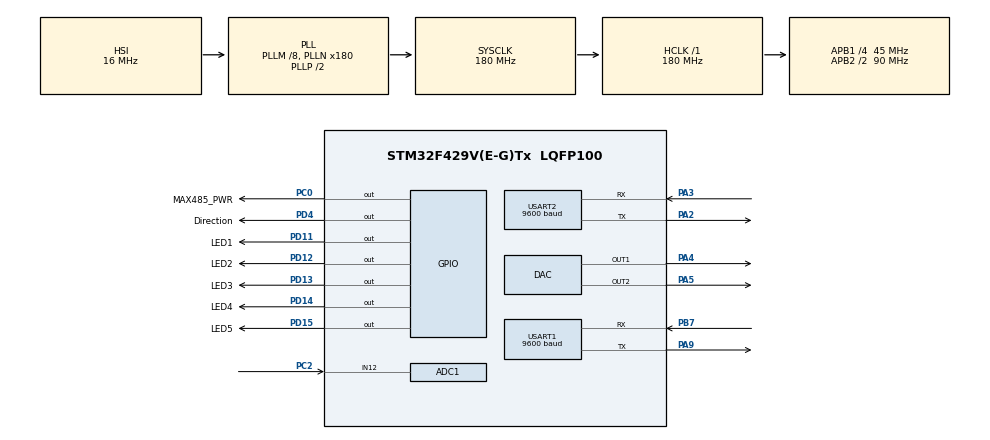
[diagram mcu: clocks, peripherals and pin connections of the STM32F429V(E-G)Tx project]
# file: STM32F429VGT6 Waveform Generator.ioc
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ADC1.Channel-1\#ChannelRegularConversion=ADC_CHANNEL_12
ADC1.NbrOfConversionFlag=1
ADC1.Rank-1\#ChannelRegularConversion=1
ADC1.SamplingTime-1\#ChannelRegularConversion=ADC_SAMPLETIME_3CYCLES
ADC1.master=1
DAC.DAC_Trigger=DAC_TRIGGER_T2_TRGO
DAC.DAC_Trigger2=DAC_TRIGGER_T4_TRGO
Dma.DAC1.0.Direction=DMA_MEMORY_TO_PERIPH
Dma.DAC1.0.FIFOMode=DMA_FIFOMODE_DISABLE
Dma.DAC1.0.Instance=DMA1_Stream5
Dma.DAC1.0.MemDataAlignment=DMA_MDATAALIGN_WORD
Dma.DAC1.0.MemInc=DMA_MINC_ENABLE
Dma.DAC1.0.Mode=DMA_CIRCULAR
Dma.DAC1.0.PeriphDataAlignment=DMA_PDATAALIGN_WORD
Dma.DAC1.0.PeriphInc=DMA_PINC_DISABLE
Dma.DAC1.0.Priority=DMA_PRIORITY_LOW
Dma.DAC2.1.Direction=DMA_MEMORY_TO_PERIPH
Dma.DAC2.1.FIFOMode=DMA_FIFOMODE_DISABLE
Dma.DAC2.1.Instance=DMA1_Stream6
Dma.DAC2.1.MemDataAlignment=DMA_MDATAALIGN_WORD
Dma.DAC2.1.MemInc=DMA_MINC_ENABLE
Dma.DAC2.1.Mode=DMA_CIRCULAR
Dma.DAC2.1.PeriphDataAlignment=DMA_PDATAALIGN_WORD
Dma.DAC2.1.PeriphInc=DMA_PINC_DISABLE
Dma.DAC2.1.Priority=DMA_PRIORITY_LOW
Dma.Request0=DAC1
Dma.Request1=DAC2
Dma.Request2=USART1_RX
Dma.Request3=USART1_TX
Dma.USART1_RX.2.Direction=DMA_PERIPH_TO_MEMORY
Dma.USART1_RX.2.FIFOMode=DMA_FIFOMODE_DISABLE
Dma.USART1_RX.2.Instance=DMA2_Stream2
Dma.USART1_RX.2.MemDataAlignment=DMA_MDATAALIGN_BYTE
Dma.USART1_RX.2.MemInc=DMA_MINC_ENABLE
Dma.USART1_RX.2.Mode=DMA_NORMAL
Dma.USART1_RX.2.PeriphDataAlignment=DMA_PDATAALIGN_BYTE
Dma.USART1_RX.2.PeriphInc=DMA_PINC_DISABLE
Dma.USART1_RX.2.Priority=DMA_PRIORITY_LOW
Dma.USART1_TX.3.Direction=DMA_MEMORY_TO_PERIPH
Dma.USART1_TX.3.FIFOMode=DMA_FIFOMODE_DISABLE
Dma.USART1_TX.3.Instance=DMA2_Stream7
Dma.USART1_TX.3.MemDataAlignment=DMA_MDATAALIGN_BYTE
Dma.USART1_TX.3.MemInc=DMA_MINC_ENABLE
Dma.USART1_TX.3.Mode=DMA_CIRCULAR
Dma.USART1_TX.3.PeriphDataAlignment=DMA_PDATAALIGN_BYTE
Dma.USART1_TX.3.PeriphInc=DMA_PINC_DISABLE
Dma.USART1_TX.3.Priority=DMA_PRIORITY_LOW
Mcu.Family=STM32F4
Mcu.Name=STM32F429V(E-G)Tx
Mcu.Package=LQFP100
NVIC.DMA1_Stream5_IRQn=true\:0\:0\:false\:false\:true\:false\:true
NVIC.DMA1_Stream6_IRQn=true\:0\:0\:false\:false\:true\:false\:true
NVIC.DMA2_Stream2_IRQn=true\:0\:0\:false\:false\:true\:false\:true
NVIC.DMA2_Stream7_IRQn=true\:0\:0\:false\:false\:true\:false\:true
NVIC.PriorityGroup=NVIC_PRIORITYGROUP_4
NVIC.TIM2_IRQn=true\:0\:0\:false\:false\:true\:true\:true
NVIC.TIM4_IRQn=true\:0\:0\:false\:false\:true\:true\:true
NVIC.TIM6_DAC_IRQn=true\:0\:0\:false\:false\:true\:true\:true
NVIC.USART2_IRQn=true\:0\:0\:false\:false\:true\:true\:true
PA13.Mode=Trace_Asynchronous_SW
PA13.Signal=SYS_JTMS-SWDIO
PA14.Mode=Trace_Asynchronous_SW
PA14.Signal=SYS_JTCK-SWCLK
PA2.Mode=Asynchronous
PA2.Signal=USART2_TX
PA3.Mode=Asynchronous
PA3.Signal=USART2_RX
PA4.Signal=COMP_DAC1_group
PA5.Signal=COMP_DAC2_group
PA9.Mode=Asynchronous
PA9.Signal=USART1_TX
PB3.Mode=Trace_Asynchronous_SW
PB3.Signal=SYS_JTDO-SWO
PB7.Mode=Asynchronous
PB7.Signal=USART1_RX
PC0.GPIO_Label=MAX485_PWR
PC0.Signal=GPIO_Output
PC2.Signal=ADCx_IN12
PD11.GPIO_Label=LED1
PD11.Signal=GPIO_Output
PD12.GPIO_Label=LED2
PD12.Signal=GPIO_Output
PD13.GPIO_Label=LED3
PD13.Signal=GPIO_Output
PD14.GPIO_Label=LED4
PD14.Signal=GPIO_Output
PD15.GPIO_Label=LED5
PD15.Signal=GPIO_Output
PD4.GPIO_Label=Direction
PD4.Signal=GPIO_Output
PH0/OSC_IN.Mode=HSE-External-Oscillator
PH0/OSC_IN.Signal=RCC_OSC_IN
PH1/OSC_OUT.Mode=HSE-External-Oscillator
PH1/OSC_OUT.Signal=RCC_OSC_OUT
ProjectManager.HeapSize=0x200
ProjectManager.StackSize=0x400
ProjectManager.TargetToolchain=STM32CubeIDE
RCC.48MHZClocksFreq_Value=51428571.428571425
RCC.AHBFreq_Value=180000000
RCC.APB1CLKDivider=RCC_HCLK_DIV4
RCC.APB1Freq_Value=45000000
RCC.APB1TimFreq_Value=90000000
RCC.APB2CLKDivider=RCC_HCLK_DIV2
RCC.APB2Freq_Value=90000000
RCC.APB2TimFreq_Value=180000000
RCC.CortexFreq_Value=180000000
RCC.HCLKFreq_Value=180000000
RCC.HSE_VALUE=25000000
RCC.HSI_VALUE=16000000
RCC.LSE_VALUE=32768
RCC.PLLM=8
RCC.PLLN=180
RCC.PLLQ=7
RCC.SYSCLKFreq_VALUE=180000000
RCC.SYSCLKSource=RCC_SYSCLKSOURCE_PLLCLK
RCC.VCOOutputFreq_Value=360000000
SH.ADCx_IN12.0=ADC1_IN12,IN12
SH.COMP_DAC1_group.0=DAC_OUT1,DAC_OUT1
SH.COMP_DAC2_group.0=DAC_OUT2,DAC_OUT2
TIM2.AutoReloadPreload=TIM_AUTORELOAD_PRELOAD_ENABLE
TIM2.Period=10
TIM2.Prescaler=10
TIM2.TIM_MasterOutputTrigger=TIM_TRGO_UPDATE
TIM4.AutoReloadPreload=TIM_AUTORELOAD_PRELOAD_ENABLE
TIM4.Period=10
TIM4.Prescaler=10
TIM4.TIM_MasterOutputTrigger=TIM_TRGO_UPDATE
USART1.BaudRate=9600
USART1.Parity=PARITY_NONE
USART1.StopBits=STOPBITS_2
USART1.VirtualMode=VM_ASYNC
USART1.WordLength=WORDLENGTH_8B
USART2.BaudRate=9600
USART2.OverSampling=UART_OVERSAMPLING_16
USART2.Parity=PARITY_NONE
USART2.StopBits=STOPBITS_2
USART2.VirtualMode=VM_ASYNC
USART2.WordLength=WORDLENGTH_8B
VP_TIM2_VS_ClockSourceINT.Mode=Internal
VP_TIM4_VS_ClockSourceINT.Mode=Internal
board=custom

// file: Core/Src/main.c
/* USER CODE BEGIN Header */
/**
  ******************************************************************************
  * @file           : main.c
  * @brief          : Main program body
  ******************************************************************************
  * @attention
  *
  * <h2><center>&copy; Copyright (c) 2021 STMicroelectronics.
  * All rights reserved.</center></h2>
  *
  * This software component is licensed by ST under BSD 3-Clause license,
  * the "License"; You may not use this file except in compliance with the
  * License. You may obtain a copy of the License at:
  *                        opensource.org/licenses/BSD-3-Clause
  *
  ******************************************************************************
  */
/* USER CODE END Header */
#include "main.h"
#include "adc.h"
#include "dac.h"
#include "dma.h"
#include "tim.h"
#include "usart.h"
#include "gpio.h"

/* USER CODE BEGIN Includes */
#include "math.h"
#include <string.h>
#include <stdio.h>
#include <stdlib.h>
//#include "usbd_cdc_if.h" // this is needed to transmit a string of characters
/* USER CODE END Includes */

void SystemClock_Config(void);

/* USER CODE BEGIN 0 */

/* Setting up signal generation */
int Res = 4096;				        // DAC resolution.
#define Ns 80 			            // Number of samples, Adjusting Ns will affect the frequency of the output signal.
								    // NS 80 seems to work up to 25kHz
uint32_t Channel_1_sine_val[Ns];    // Look up table for all the first sine wave.
uint32_t Channel_2_sine_val[Ns];    // Look up table for all the second sine wave.
double Channel_1_sine_scale = 0.68; // Sine scale values. Max value = sine_scaled*3.3. Will result in a deformed signal.
double Channel_2_sine_scale = 0.68; // Giving a max amplitude of 3.24V
int sine_dc_offset = 300; 		    // DC off set value (4096Bits/3300mV)*200mV = 248.24Bits. Check
#define PI 3.1415926			    // Definition of PI
int Freq_Signal_1 = 1000; 		    // Frequency of signal 1
int Freq_Signal_2 = 1000; 		    // Frequency of signal 2
int PSC;						    // Variable to hold the Pre-scaler value
int Period = 1;					    // Variable to hold the Period
uint32_t Fclock = 90000000;		    // APB1 Timer Clock Frequency

/* Setting up UART communications*/
#define uartSize_rx 10
#define uartSize_tx 10
uint8_t rx_buff[uartSize_rx];
uint8_t tx_buff[uartSize_tx];
int temp_frequency;
int temp_sine_scale;
char temp_buff[uartSize_rx];

// ASCII interpretation
char amplitude_value[2];
char frquency_value[6];
int value_int;

// for debugging
int counter = 0;

/* USER CODE END 0 */

int main(void)
{

  /* MCU Configuration--------------------------------------------------------*/

  /* Reset of all peripherals, Initializes the Flash interface and the Systick. */

	HAL_Init();

  /* Configure the system clock */
  SystemClock_Config();

  /* Initialize all configured peripherals */
  MX_GPIO_Init();
  MX_DMA_Init();
  MX_ADC1_Init();
  MX_USART1_UART_Init();
  MX_DAC_Init();
  MX_TIM2_Init();
  MX_TIM4_Init();
  MX_USART2_UART_Init();
  /* USER CODE BEGIN 2 */
  /* Perform initializations */
  Startup(Channel_1_sine_val, Channel_2_sine_val, tx_buff);
  /* USER CODE END 2 */

  /* Infinite loop */
  /* USER CODE BEGIN WHILE */
  while (1)
  {

	  /* Wait for instructions*/
      HAL_GPIO_WritePin(Direction_GPIO_Port, Direction_Pin, 0); // Set MAX485 to listening
	  HAL_UART_Receive(&huart2, rx_buff, uartSize_rx, 100);
	  Message_handler(rx_buff);

	 // HAL_UART_Transmit(&huart2, rx_buff, strlen((char*)rx_buff), 100); // Send message in RS485

	  //HAL_UART_Receive(&huart2, rx_buff, uartSize_rx, HAL_MAX_DELAY);

    /* USER CODE END WHILE */

  }
}

void SystemClock_Config(void)
{
  RCC_OscInitTypeDef RCC_OscInitStruct = {0};
  RCC_ClkInitTypeDef RCC_ClkInitStruct = {0};

  /** Configure the main internal regulator output voltage
  */
  __HAL_RCC_PWR_CLK_ENABLE();
  __HAL_PWR_VOLTAGESCALING_CONFIG(PWR_REGULATOR_VOLTAGE_SCALE1);
  /** Initializes the RCC Oscillators according to the specified parameters
  * in the RCC_OscInitTypeDef structure.
  */
  RCC_OscInitStruct.OscillatorType = RCC_OSCILLATORTYPE_HSI;
  RCC_OscInitStruct.HSIState = RCC_HSI_ON;
  RCC_OscInitStruct.HSICalibrationValue = RCC_HSICALIBRATION_DEFAULT;
  RCC_OscInitStruct.PLL.PLLState = RCC_PLL_ON;
  RCC_OscInitStruct.PLL.PLLSource = RCC_PLLSOURCE_HSI;
  RCC_OscInitStruct.PLL.PLLM = 8;
  RCC_OscInitStruct.PLL.PLLN = 180;
  RCC_OscInitStruct.PLL.PLLP = RCC_PLLP_DIV2;
  RCC_OscInitStruct.PLL.PLLQ = 7;
  if (HAL_RCC_OscConfig(&RCC_OscInitStruct) != HAL_OK)
  {
    Error_Handler();
  }
  /** Activate the Over-Drive mode
  */
  if (HAL_PWREx_EnableOverDrive() != HAL_OK)
  {
    Error_Handler();
  }
  /** Initializes the CPU, AHB and APB buses clocks
  */
  RCC_ClkInitStruct.ClockType = RCC_CLOCKTYPE_HCLK|RCC_CLOCKTYPE_SYSCLK
                              |RCC_CLOCKTYPE_PCLK1|RCC_CLOCKTYPE_PCLK2;
  RCC_ClkInitStruct.SYSCLKSource = RCC_SYSCLKSOURCE_PLLCLK;
  RCC_ClkInitStruct.AHBCLKDivider = RCC_SYSCLK_DIV1;
  RCC_ClkInitStruct.APB1CLKDivider = RCC_HCLK_DIV4;
  RCC_ClkInitStruct.APB2CLKDivider = RCC_HCLK_DIV2;

  if (HAL_RCC_ClockConfig(&RCC_ClkInitStruct, FLASH_LATENCY_5) != HAL_OK)
  {
    Error_Handler();
  }
}

/* USER CODE BEGIN 4 */
void Startup(uint32_t Channel_1_sine_val[Ns], uint32_t Channel_2_sine_val[Ns],	uint8_t tx_buff[uartSize_tx]) {

	/* Creating the Sine waveform at the DACs outputs 1 and 2*/
	set_clock_TIM2(); // Setting frequency of timer 2
	set_clock_TIM4(); // Setting frequency of timer 4
	HAL_TIM_Base_Start(&htim2); // Start timer 2
	HAL_TIM_Base_Start(&htim4); // Start timer 4
	Get_channel_1_sine(); // Generate the sine wave look up table
	Get_channel_2_sine(); // Generate the  sine wave look up table
	HAL_DAC_Start_DMA(&hdac, DAC1_CHANNEL_1, Channel_1_sine_val, Ns, DAC_ALIGN_12B_R); //Start the DAC DMA implementation for output 1.
	/* Any code between here will cause phase lag between the output signals. */
	HAL_DAC_Start_DMA(&hdac, DAC1_CHANNEL_2, Channel_2_sine_val, Ns, DAC_ALIGN_12B_R); //Start the DAC DMA implementation for output 2.

	/* Setting signal output indicators to on  */
	HAL_GPIO_WritePin(GPIOD, LED1_Pin, 1); // Turn LED1 on
	HAL_GPIO_WritePin(GPIOD, LED2_Pin, 1); // Turn LED2 on

	/* Setting up RS485 communications */
	HAL_GPIO_WritePin(MAX485_PWR_GPIO_Port, MAX485_PWR_Pin, 1); // Turn on the MAX485 chip

	/* Building start up message */
	tx_buff[0] = 0x3C; // |<|     : Start of message byte.
	tx_buff[1] = 36;   // |ADDR|  : Device Address byte.
	tx_buff[2] = 36;   // |CMD|   : Command byte.
	tx_buff[3] = 36;   // |DATA1| : Data byte 1.
	tx_buff[4] = 36;   // |DATA2| : Data byte 2.
	tx_buff[5] = 36;   // |DATA3| : Data byte 3
	tx_buff[6] = 36;   // |DATA4| : Data byte 4.
	tx_buff[7] = 36;   // |DATA5| : Data byte 5.
	tx_buff[8] = 36;   // |DATA6| : Data byte 6.
	tx_buff[9] = '>';  // |>|     : End of message byte.

	/* Send start up message */
	HAL_GPIO_WritePin(Direction_GPIO_Port, Direction_Pin, 1); // Set MAX485 to transmitting
	HAL_UART_Transmit(&huart2, tx_buff, strlen((char*) tx_buff), HAL_MAX_DELAY); // Send message in RS485
}

void HAL_UART_RxCpltCallback(UART_HandleTypeDef *huart){

	//Message_handler(rx_buff);

}

void HAL_UART_TxCpltCallback (UART_HandleTypeDef *huart){
	// Clear rx buffer

}

void Message_handler(uint8_t rx_buff[]){

	// If statements to validate message integrity
	if((rx_buff[0] == '<') && (rx_buff[9] == '>')){

		// Toggling transmission light
		HAL_GPIO_WritePin(LED3_GPIO_Port, LED3_Pin, 1); // Receive
		HAL_GPIO_WritePin(LED4_GPIO_Port, LED4_Pin, 0); // Busy
		HAL_GPIO_WritePin(LED5_GPIO_Port, LED5_Pin, 0); // Transmit

		/*
		|<|	     : Start of message byte.
		|ADDR|() : Device Address byte.
		|CMD|()  : Command byte.
		|DATA1|  : Data byte 1.
		|DATA2|  : Data byte 2.
		|DATA3|  : Data byte 3.
		|DATA4|  : Data byte 4.
		|DATA5|  : Data byte 5.
		|DATA6|  : Data byte 6.
		|>|		 : End of message byte.

		e.g.
		e.g.
		e.g.
		e.g.
		e.g.
		e.g.
		 */

		// Switch statements to respond accordingly
		switch(rx_buff[2]){

			/* Change the frequency of DAC channel 1. */
			case '1':
				// Toggling transmission light
				HAL_GPIO_WritePin(LED4_GPIO_Port, LED4_Pin, 1); // Busy

				// Building 4 bytes int a 6 digit value
				frquency_value[0] = rx_buff[3];
				frquency_value[1] = rx_buff[4];
				frquency_value[2] = rx_buff[5];
				frquency_value[3] = rx_buff[6];
				frquency_value[4] = rx_buff[7];
				frquency_value[5] = rx_buff[8];
				value_int = atoi(frquency_value);

				// Boundary checks
				if(value_int < 500){
					value_int = 500;
				}
				if(value_int > 20000){
					value_int = 20000;
				}
				// Updating channel 1 output frequency
				Freq_Signal_1 = value_int;
				set_clock_TIM2();	// Set the new sine frequency by updating the associate clock frequency

				// Calculating frequency from buffer value
				// temp_frequency  = ((Fclock/Ns)/((TIM2 ->PSC) - 1 )*(Period + 1));
				// itoa(temp_frequency, temp_buff,10);

				// Building response
				tx_buff[0] = '<'; 			// |<|     : Start of message byte.
				tx_buff[1] = rx_buff[1];	// |ADDR|  : Device Address byte.
				tx_buff[2] = rx_buff[2];	// |CMD|() : Command byte.
				tx_buff[3] = rx_buff[3];	// |DATA1| : Data byte 1.
				tx_buff[4] = rx_buff[4];	// |DATA2| : Data byte 2.
				tx_buff[5] = rx_buff[5];	// |DATA3| : Data byte 3
				tx_buff[6] = rx_buff[6];	// |DATA4| : Data byte 4.
				tx_buff[7] = rx_buff[7];	// |DATA1| : Data byte 5.
				tx_buff[8] = rx_buff[8];	// |DATA2| : Data byte 6.
				tx_buff[9] = '>'; 			// |>|     : End of message byte.

				// Toggling transmission light
				HAL_GPIO_WritePin(LED5_GPIO_Port, LED5_Pin, 1); // Transmit

				// Sending response
			    HAL_GPIO_WritePin(Direction_GPIO_Port, Direction_Pin, 1); 					// Set MAX485 to transmitting
				HAL_UART_Transmit(&huart2, tx_buff, strlen((char*)tx_buff), HAL_MAX_DELAY); // Send message in RS485
				counter++;
				break;

			/* Change the frequency of DAC channel 2. */
			case '2':
				// Toggling transmission light
				HAL_GPIO_WritePin(LED4_GPIO_Port, LED4_Pin, 1); // Busy

				// Building 4 bytes int a 6 digi value
				frquency_value[0] = rx_buff[3];
				frquency_value[1] = rx_buff[4];
				frquency_value[2] = rx_buff[5];
				frquency_value[3] = rx_buff[6];
				frquency_value[4] = rx_buff[7];
				frquency_value[5] = rx_buff[8];
				value_int = atoi(frquency_value);

				// Boundary checks
				if(value_int < 500){
					value_int = 500;
				}
				if(value_int > 20000){
					value_int = 20000;
				}

				// Updating channel 1 output frequency
				Freq_Signal_2 = value_int;
				set_clock_TIM4();	// Set the new sine frequency by updating the associate clock frequency

				// Calculating frequency from buffer value
				// temp_frequency  = ((Fclock/Ns)/((TIM4 ->PSC) - 1 )*(Period + 1));
				// itoa(temp_frequency, temp_buff,10);

				// Building response
				tx_buff[0] = '<'; 			// |<|     : Start of message byte.
				tx_buff[1] = rx_buff[1];	// |ADDR|  : Device Address byte.
				tx_buff[2] = rx_buff[2];	// |CMD|() : Command byte.
				tx_buff[3] = rx_buff[3];	// |DATA1| : Data byte 1.
				tx_buff[4] = rx_buff[4];	// |DATA2| : Data byte 2.
				tx_buff[5] = rx_buff[5];	// |DATA3| : Data byte 3
				tx_buff[6] = rx_buff[6];	// |DATA4| : Data byte 4.
				tx_buff[7] = rx_buff[7];	// |DATA1| : Data byte 5.
				tx_buff[8] = rx_buff[8];	// |DATA2| : Data byte 6.
				tx_buff[9] = '>'; 			// |>|     : End of message byte.

				// Toggling transmission light
				HAL_GPIO_WritePin(LED5_GPIO_Port, LED5_Pin, 1); // Transmit

				// Sending response
			    HAL_GPIO_WritePin(Direction_GPIO_Port, Direction_Pin, 1); 					// Set MAX485 to transmitting
				HAL_UART_Transmit(&huart2, tx_buff, strlen((char*)tx_buff), HAL_MAX_DELAY); // Send message in RS485
				counter++;
				break;

			/* Change the amplitude of DAC channel 1 */
			case '3':
				// Toggling transmission light
				HAL_GPIO_WritePin(LED4_GPIO_Port, LED4_Pin, 1); // Busy

				// Building 4 bytes int a 6 digit value
				amplitude_value[0] = rx_buff[7];
				amplitude_value[1] = rx_buff[8];
				value_int = atoi(amplitude_value);

				//value_int = value_int*1.16; /// This code is specificially for control enclosure 4

				// Boundary checks
				if(value_int < 1){
					value_int = 1;
				}
				if(value_int > 68){
					value_int = 68;
				}

				// Updating channel 1 amplitude
				Channel_1_sine_scale = (double)value_int/100; // Dividing by 100 to create a fraction
				Get_channel_1_sine(); // Generate new table of sine values

				// Building response
				tx_buff[0] = '<'; 			// |<|     : Start of message byte.
				tx_buff[1] = rx_buff[1];	// |ADDR|  : Device Address byte.
				tx_buff[2] = rx_buff[2];	// |CMD|() : Command byte.
				tx_buff[3] = rx_buff[3];	// |DATA1| : Data byte 1.
				tx_buff[4] = rx_buff[4];	// |DATA2| : Data byte 2.
				tx_buff[5] = rx_buff[5];	// |DATA3| : Data byte 3
				tx_buff[6] = rx_buff[6];	// |DATA4| : Data byte 4.
				tx_buff[7] = rx_buff[7];	// |DATA1| : Data byte 5.
				tx_buff[8] = rx_buff[8];	// |DATA2| : Data byte 6.
				tx_buff[9] = '>'; 			// |>|     : End of message byte.

				// Toggling transmission light
				HAL_GPIO_WritePin(LED5_GPIO_Port, LED5_Pin, 1); // Transmit

				// Sending response
			    HAL_GPIO_WritePin(Direction_GPIO_Port, Direction_Pin, 1); 					// Set MAX485 to transmitting
				HAL_UART_Transmit(&huart2, tx_buff, strlen((char*)tx_buff), HAL_MAX_DELAY); // Send message in RS485

				counter++;
				break;

			/* Change the amplitude of DAC channel 2. */
			case '4':
				// Toggling transmission light
				HAL_GPIO_WritePin(LED4_GPIO_Port, LED4_Pin, 1); // Busy

				// Building 4 bytes int a 6 digit value
				amplitude_value[0] = rx_buff[7];
				amplitude_value[1] = rx_buff[8];
				value_int = atoi(amplitude_value);

				//value_int = value_int*1.16; /// This code is specificially for control enclosure 4

				// Boundary checks
				if(value_int < 1){
					value_int = 1;
				}
				if(value_int > 68){
					value_int = 68;
				}

				// Updating channel 2 amplitude
				Channel_2_sine_scale = (double)value_int/100; // Dividing by 100 to create a fraction
				Get_channel_2_sine();	// Generate new table of sine values

				// Building response
				tx_buff[0] = '<'; 			// |<|     : Start of message byte.
				tx_buff[1] = rx_buff[1];	// |ADDR|  : Device Address byte.
				tx_buff[2] = rx_buff[2];	// |CMD|() : Command byte.
				tx_buff[3] = rx_buff[3];	// |DATA1| : Data byte 1.
				tx_buff[4] = rx_buff[4];	// |DATA2| : Data byte 2.
				tx_buff[5] = rx_buff[5];	// |DATA3| : Data byte 3
				tx_buff[6] = rx_buff[6];	// |DATA4| : Data byte 4.
				tx_buff[7] = rx_buff[7];	// |DATA1| : Data byte 5.
				tx_buff[8] = rx_buff[8];	// |DATA2| : Data byte 6.
				tx_buff[9] = '>'; 			// |>|     : End of message byte.

				// Toggling transmission light
				HAL_GPIO_WritePin(LED5_GPIO_Port, LED5_Pin, 1); // Transmit

				// Sending response
			    HAL_GPIO_WritePin(Direction_GPIO_Port, Direction_Pin, 1); 					// Set MAX485 to transmitting
				HAL_UART_Transmit(&huart2, tx_buff, strlen((char*)tx_buff), HAL_MAX_DELAY); // Send message in RS485
				counter++;
				break;

			/* Request Voltage and Current measurement of channel 1 output. */
			/* Request Voltage and Current measurement of channel 2 output. */
			/* Request Temperature sensor 1 and 2 output. */
			/* Acknowledge message received. */
			/* Bad message received. */
			/* Request current system state. */

		}

	}

	// Clear rx buffer
	for(int i = 0; i<uartSize_rx; i++){
		rx_buff[i] = 0;
		temp_buff[i] = 0;
	}

	// Toggling transmission light
	HAL_GPIO_WritePin(LED3_GPIO_Port, LED3_Pin, 0); // Receive
	HAL_GPIO_WritePin(LED4_GPIO_Port, LED4_Pin, 0); // Busy
	HAL_GPIO_WritePin(LED5_GPIO_Port, LED5_Pin, 0); // Transmit
}

/*
* Fsine = FtimerRTGO/Ns,   Fsine = F(timer trigger ouput)/(number of samples)
* Vsine(x)=(sine(x*(2PI/ns)+1)*((0xFFF+1)/2), this is an adjusted formula to create a positive sine.
*/

void Get_channel_1_sine(void){
	// This function generates the look up table for the sinewave signal to be generated

	for(int i=0;i<Ns;i++){
		Channel_1_sine_val[i] = ((sin(i*2*PI/Ns)+1)*((Res)/2)); // Sampling step = 2PI/ns
		Channel_1_sine_val[i] = sine_dc_offset + Channel_1_sine_scale*Channel_1_sine_val[i];
	}
}

void Get_channel_2_sine(void){
	// This function generates the look up table for the sinewave signal to be generated

	for(int i=0;i<Ns;i++){
		Channel_2_sine_val[i] = ((sin(i*2*PI/Ns)+1)*((Res)/2)); // Sampling step = 2PI/ns
		Channel_2_sine_val[i] = sine_dc_offset + Channel_2_sine_scale*Channel_2_sine_val[i];
	}
}

void set_clock_TIM2(void){
	  // This function sets up the clock to be used for the signal generation

	  HAL_TIM_Base_Stop(&htim2);

	  PSC= (Fclock/Ns)/(Freq_Signal_1*(Period + 1) ) - 1;
	  htim2.Instance = TIM2;
	  htim2.Init.Period = Period; //+1
	  htim2.Init.Prescaler = PSC; //+1 // If this value is < 50 things start to behave funny.
	  if (HAL_TIM_Base_Init(&htim2) != HAL_OK)
	  {
	    Error_Handler();
	  }
	  HAL_TIM_Base_Start(&htim2);
}

void set_clock_TIM4(void){
      // This function sets up the clock to be used for the signal generation

	  HAL_TIM_Base_Stop(&htim4);

	  PSC= (Fclock/Ns)/(Freq_Signal_2*(Period + 1) ) - 1;
	  htim4.Instance = TIM4;
	  htim4.Init.Period = Period; //+1
	  htim4.Init.Prescaler = PSC; //+1 // If this value is < 50 things start to behave funny.
	  if (HAL_TIM_Base_Init(&htim4) != HAL_OK)
	  {
	    Error_Handler();
	  }

	  HAL_TIM_Base_Start(&htim4);
}
/* USER CODE END 4 */

void Error_Handler(void)
{
}

/************************ (C) COPYRIGHT STMicroelectronics *****END OF FILE****/
